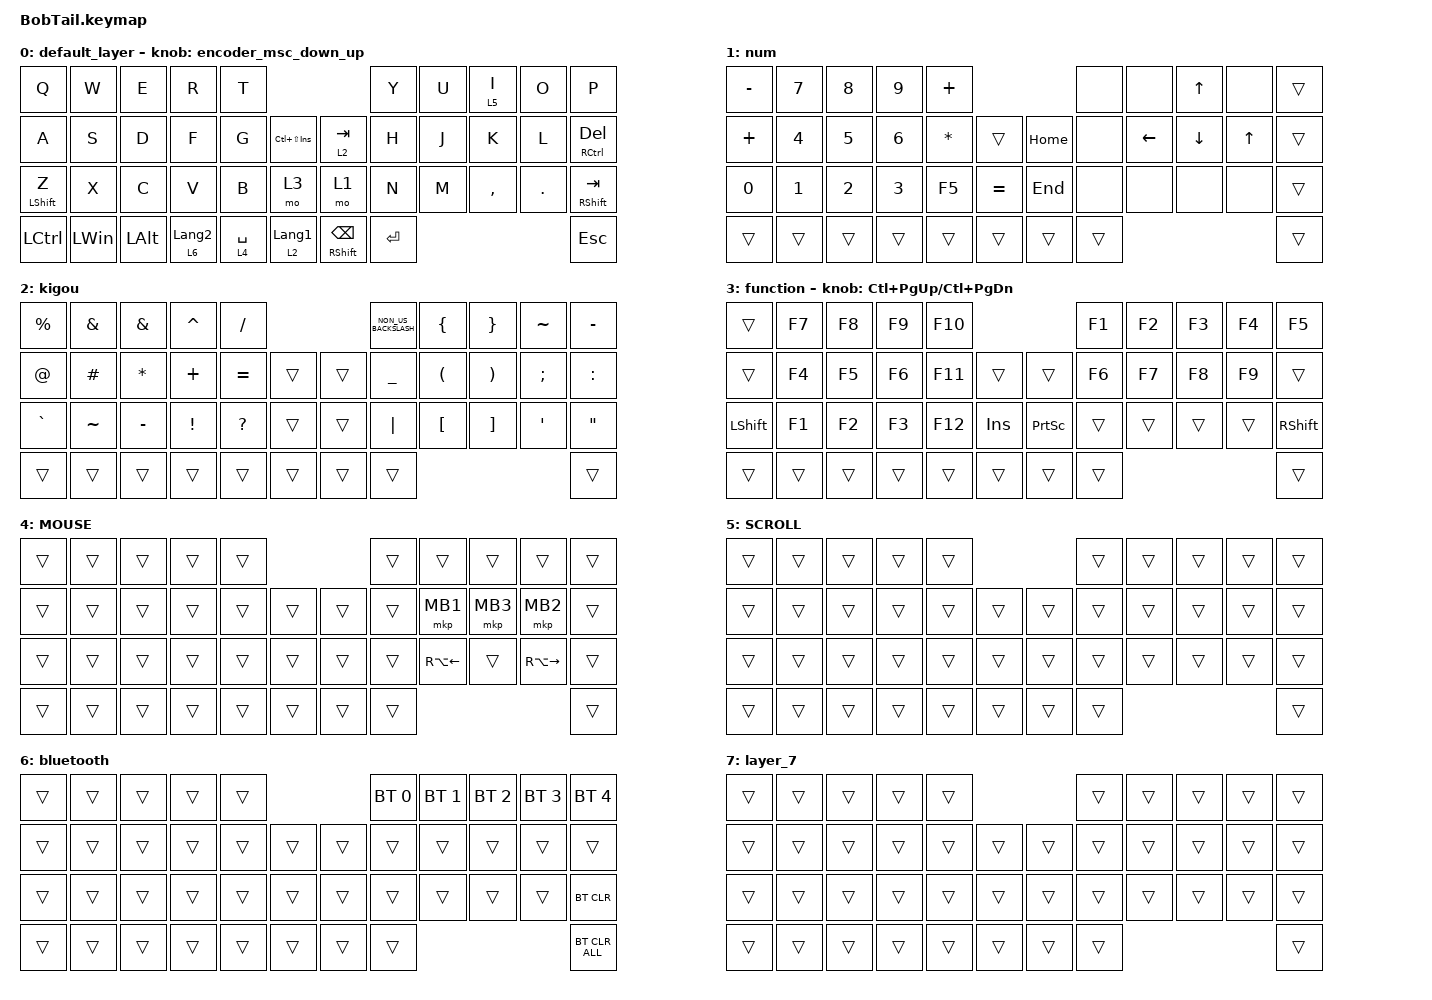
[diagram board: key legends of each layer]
#include <behaviors.dtsi>
#include <dt-bindings/zmk/bt.h>
#include <dt-bindings/zmk/keys.h>
#include <dt-bindings/zmk/pointing.h>

#define MOUSE 4
#define SCROLL 5
#define NUM 6
#define ZMK_POINTING_DEFAULT_SCRL_VAL 80

&mt {
    flavor = "balanced";
    quick-tap-ms = <0>;
};

/ {
    combos {
        compatible = "zmk,combos";

        shift_tab {
            bindings = <&kp LANG2>;
            key-positions = <12 13>;
        };

        lang {
            bindings = <&kp LANG1>;
            key-positions = <18 19>;
        };
    };

    behaviors {
        encoder_msc_down_up: encoder_msc_down_up {
            compatible = "zmk,behavior-sensor-rotate";
            label = "ENCODER_MSC_DOWN_UP";
            #sensor-binding-cells = <0>;
            bindings = <&msc SCRL_UP>, <&msc SCRL_DOWN>;

            tap-ms = <20>;
        };
    };

    keymap {
        compatible = "zmk,keymap";

        default_layer {
            bindings = <
&kp Q             &kp W         &kp E         &kp R             &kp T                                                   &kp Y    &kp U  &lt 5 I    &kp O    &kp P
&kp A             &kp S         &kp D         &kp F             &kp G        &kp LC(LS(INS))       &lt 2 TAB            &kp H    &kp J  &kp K      &kp L    &mt RCTRL DELETE
&mt LEFT_SHIFT Z  &kp X         &kp C         &kp V             &kp B        &mo 3                 &mo 1                &kp N    &kp M  &kp COMMA  &kp DOT  &mt RIGHT_SHIFT TAB
&kp LCTRL         &kp LEFT_WIN  &kp LEFT_ALT  &lt 6 LANGUAGE_2  &lt 4 SPACE  &lt 2 LANGUAGE_1      &mt RSHFT BACKSPACE  &kp RET                             &kp ESC
            >;

            sensor-bindings = <&encoder_msc_down_up>;
        };

        num {
            bindings = <
&kp MINUS  &kp NUMBER_7  &kp N8        &kp N9        &kp PLUS                               &none   &none     &kp UP_ARROW  &none         &trans
&kp PLUS   &kp NUMBER_4  &kp N5        &kp NUMBER_6  &kp ASTERISK  &trans         &kp HOME  &none   &kp LEFT  &kp DOWN      &kp UP_ARROW  &trans
&kp N0     &kp NUMBER_1  &kp NUMBER_2  &kp NUMBER_3  &kp F5        &kp EQUAL      &kp END   &none   &none     &none         &none         &trans
&trans     &trans        &trans        &trans        &trans        &trans         &trans    &trans                                        &trans
            >;
        };

        kigou {
            bindings = <
&kp PERCENT  &kp AMPERSAND  &kp AMPERSAND  &kp CARET        &kp SLASH                         &kp NON_US_BACKSLASH  &kp LEFT_BRACE        &kp RIGHT_BRACE        &kp TILDE      &kp MINUS
&kp AT_SIGN  &kp HASH       &kp ASTERISK   &kp PLUS         &kp EQUAL     &trans      &trans  &kp UNDERSCORE        &kp LEFT_PARENTHESIS  &kp RIGHT_PARENTHESIS  &kp SEMICOLON  &kp COLON
&kp GRAVE    &kp TILDE      &kp MINUS      &kp EXCLAMATION  &kp QUESTION  &trans      &trans  &kp PIPE              &kp LEFT_BRACKET      &kp RIGHT_BRACKET      &kp SQT        &kp DOUBLE_QUOTES
&trans       &trans         &trans         &trans           &trans        &trans      &trans  &trans                                                                            &trans
            >;
        };

        function {
            bindings = <
&trans          &kp F7  &kp F8  &kp F9  &kp F10                                &kp F1  &kp F2  &kp F3  &kp F4  &kp F5
&trans          &kp F4  &kp F5  &kp F6  &kp F11  &trans       &trans           &kp F6  &kp F7  &kp F8  &kp F9  &trans
&kp LEFT_SHIFT  &kp F1  &kp F2  &kp F3  &kp F12  &kp INS      &kp PRINTSCREEN  &trans  &trans  &trans  &trans  &kp RIGHT_SHIFT
&trans          &trans  &trans  &trans  &trans   &trans       &trans           &trans                          &trans
            >;

            sensor-bindings = <&inc_dec_kp LC(PAGE_UP) LC(PAGE_DOWN)>;
        };

        MOUSE {
            bindings = <
&trans  &trans  &trans  &trans  &trans                      &trans  &trans              &trans    &trans               &trans
&trans  &trans  &trans  &trans  &trans  &trans      &trans  &trans  &mkp MB1            &mkp MB3  &mkp MB2             &trans
&trans  &trans  &trans  &trans  &trans  &trans      &trans  &trans  &kp RA(LEFT_ARROW)  &trans    &kp RA(RIGHT_ARROW)  &trans
&trans  &trans  &trans  &trans  &trans  &trans      &trans  &trans                                                     &trans
            >;
        };

        SCROLL {
            bindings = <
&trans  &trans  &trans  &trans  &trans                      &trans  &trans  &trans  &trans  &trans
&trans  &trans  &trans  &trans  &trans  &trans      &trans  &trans  &trans  &trans  &trans  &trans
&trans  &trans  &trans  &trans  &trans  &trans      &trans  &trans  &trans  &trans  &trans  &trans
&trans  &trans  &trans  &trans  &trans  &trans      &trans  &trans                          &trans
            >;
        };

        bluetooth {
            bindings = <
&trans  &trans  &trans  &trans  &trans                      &bt BT_SEL 0  &bt BT_SEL 1  &bt BT_SEL 2  &bt BT_SEL 3  &bt BT_SEL 4
&trans  &trans  &trans  &trans  &trans  &trans      &trans  &trans        &trans        &trans        &trans        &trans
&trans  &trans  &trans  &trans  &trans  &trans      &trans  &trans        &trans        &trans        &trans        &bt BT_CLR
&trans  &trans  &trans  &trans  &trans  &trans      &trans  &trans                                                  &bt BT_CLR_ALL
            >;
        };

        layer_7 {
            bindings = <
&trans  &trans  &trans  &trans  &trans                      &trans  &trans  &trans  &trans  &trans
&trans  &trans  &trans  &trans  &trans  &trans      &trans  &trans  &trans  &trans  &trans  &trans
&trans  &trans  &trans  &trans  &trans  &trans      &trans  &trans  &trans  &trans  &trans  &trans
&trans  &trans  &trans  &trans  &trans  &trans      &trans  &trans                          &trans
            >;
        };
    };
};
